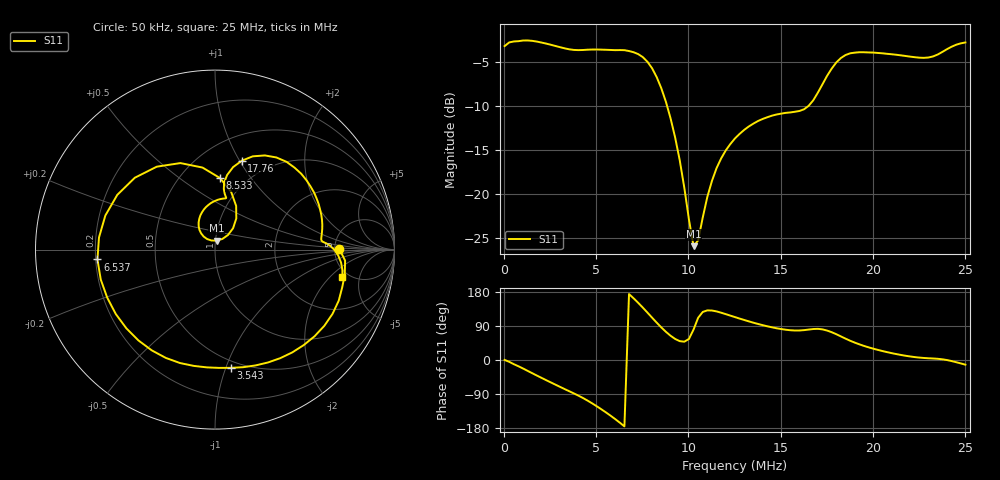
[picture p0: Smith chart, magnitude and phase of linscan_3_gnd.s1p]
# Hz S RI R 50
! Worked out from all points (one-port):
!   101 points, 50 kHz to 25 MHz, reference 50 ohm
!   lowest |S11| = -25.9 dB at 10.28 MHz (marker M1), VSWR 1.11, Z = 50.6 + j5.06 ohm
!   |S11| at or under -10 dB: 8.849 MHz to 16.49 MHz (7.645 MHz wide, 60.3 % of centre)
!   S11 on the Smith chart (normalised r, x): 50 kHz: 5.52, +0.06; 3.543 MHz: 0.44, -1.04; 6.537 MHz: 0.21, -0.04; 8.533 MHz: 0.76, +0.72; 17.76 MHz: 0.76, +1.02; 25 MHz: 4.37, -2.87
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50000  0.6932 0.00278
549000  0.7229 -0.1405
1297500  0.6547 -0.3582
2295500  0.4304 -0.5729
3293500  0.1566 -0.6552
3543000  0.0894 -0.6588
5040000  -0.3523 -0.5614
6287500  -0.6365 -0.1667
6537000  -0.655 -0.0551
7036000  -0.611 0.1898
7784500  -0.3243 0.462
8034000  -0.1925 0.482
8533000  0.0273 0.3989
9032000  0.1178 0.2433
9531000  0.1007 0.119
1.02795e7  0.00861 0.0498
1.0529e7  -0.02 0.0508
1.1028e7  -0.0633 0.0729
1.1527e7  -0.0869 0.1103
1.2525e7  -0.0817 0.1905
1.57685e7  0.0619 0.287
1.7016e7  0.0511 0.3742
1.77645e7  0.1491 0.4951
1.87625e7  0.3989 0.4889
2.001e7  0.5523 0.3172
2.2006e7  0.596 0.0983
2.37525e7  0.6421 0.0206
2.5e7  0.7102 -0.1548
